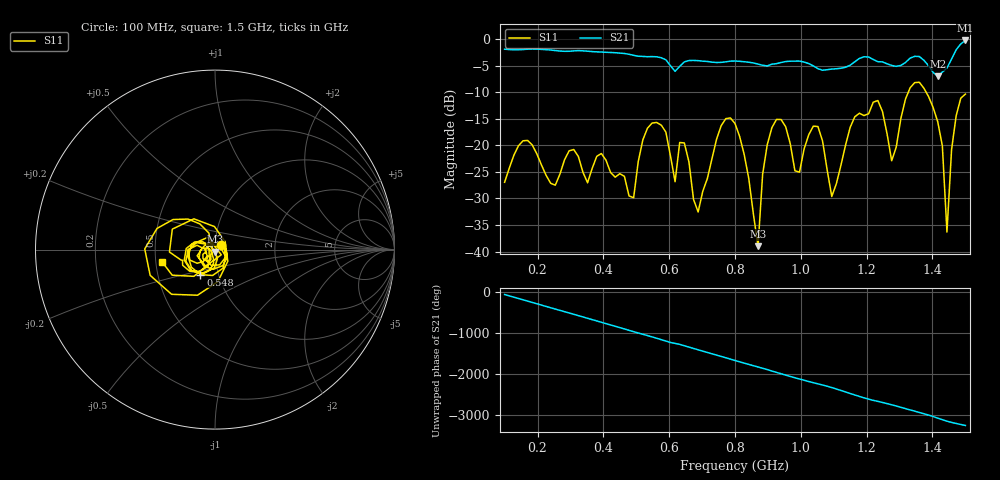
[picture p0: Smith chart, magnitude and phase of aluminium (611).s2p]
! NanoVNA-App
! Date: 2025-09-25 15:00:02
! Start: 100MHz Stop: 1,5GHz Points: 101
! S-Parameter data: F S11 S21 S12 S22
# Hz S RI R 50
!  Frequency  S11_Real  S11_Imag  S21_Real  S21_Imag  S12_Real  S12_Imag  S22_Real  S22_Imag
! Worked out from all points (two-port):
!   101 points, 100 MHz to 1.5 GHz, reference 50 ohm
!   highest |S21| = -0.28 dB at 1.5 GHz (marker M1); lowest = -7.0 dB at 1.416 GHz (marker M2)
!   |S21| within 3 dB of the highest: start of sweep to 518.9 MHz; 1.462 GHz to end of sweep (the widest 2 of 3)
!   lowest |S11| = -39.0 dB at 870 MHz (marker M3), VSWR 1.02, Z = 50.2 - j1.12 ohm
!   |S11| at or under -10 dB: start of sweep to 1.327 GHz; 1.381 GHz to end of sweep
!   S12 and S22 are empty: the file has one direction only
!   S11 on the Smith chart (normalised r, x): 100 MHz: 1.07, +0.06; 548 MHz: 0.82, -0.23; 1.5 GHz: 0.54, -0.08
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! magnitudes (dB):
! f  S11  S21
! 100 MHz  -27.0  -1.9
! 156 MHz  -19.2  -2.0
! 338 MHz  -25.1  -2.2
! 492 MHz  -29.9  -3.1
! 548 MHz  -15.8  -3.3
! 576 MHz  -16.2  -3.5
! 618 MHz  -26.8  -6.1
! 646 MHz  -19.6  -4.3
! 688 MHz  -32.5  -4.1
! 800 MHz  -15.9  -4.1
! 870 MHz  -39.0  -4.7
! 912 MHz  -16.7  -4.7
! 996 MHz  -25.1  -4.2
! 1.038 GHz  -16.4  -5.1
! 1.094 GHz  -29.6  -5.7
! 1.22 GHz  -11.9  -3.9
! 1.276 GHz  -22.9  -5.0
! 1.346 GHz  -8.2  -3.3
! 1.416 GHz  -15.6  -7.0
! 1.444 GHz  -36.3  -5.5
! 1.458 GHz  -20.8  -3.8
! 1.5 GHz  -10.4  -0.3
